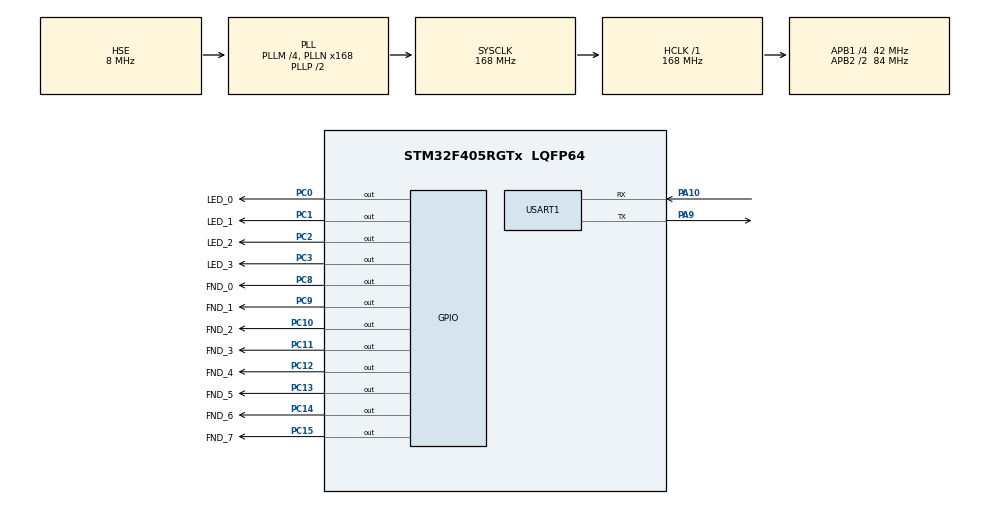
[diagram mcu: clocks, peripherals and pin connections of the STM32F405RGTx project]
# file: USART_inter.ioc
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Mcu.Family=STM32F4
Mcu.Name=STM32F405RGTx
Mcu.Package=LQFP64
NVIC.PriorityGroup=NVIC_PRIORITYGROUP_4
NVIC.USART1_IRQn=true\:0\:0\:false\:false\:true\:true\:true
PA10.Mode=Asynchronous
PA10.Signal=USART1_RX
PA13.Mode=Serial_Wire
PA13.Signal=SYS_JTMS-SWDIO
PA14.Mode=Serial_Wire
PA14.Signal=SYS_JTCK-SWCLK
PA9.Mode=Asynchronous
PA9.Signal=USART1_TX
PC0.GPIO_Label=LED_0
PC0.Signal=GPIO_Output
PC1.GPIO_Label=LED_1
PC1.Signal=GPIO_Output
PC10.GPIO_Label=FND_2
PC10.Signal=GPIO_Output
PC11.GPIO_Label=FND_3
PC11.Signal=GPIO_Output
PC12.GPIO_Label=FND_4
PC12.Signal=GPIO_Output
PC13-ANTI_TAMP.GPIO_Label=FND_5
PC13-ANTI_TAMP.Signal=GPIO_Output
PC14-OSC32_IN.GPIO_Label=FND_6
PC14-OSC32_IN.Signal=GPIO_Output
PC15-OSC32_OUT.GPIO_Label=FND_7
PC15-OSC32_OUT.Signal=GPIO_Output
PC2.GPIO_Label=LED_2
PC2.Signal=GPIO_Output
PC3.GPIO_Label=LED_3
PC3.Signal=GPIO_Output
PC8.GPIO_Label=FND_0
PC8.Signal=GPIO_Output
PC9.GPIO_Label=FND_1
PC9.Signal=GPIO_Output
PH0-OSC_IN.Mode=HSE-External-Oscillator
PH0-OSC_IN.Signal=RCC_OSC_IN
PH1-OSC_OUT.Mode=HSE-External-Oscillator
PH1-OSC_OUT.Signal=RCC_OSC_OUT
ProjectManager.HeapSize=0x200
ProjectManager.StackSize=0x400
ProjectManager.TargetToolchain=EWARM V8.32
RCC.48MHZClocksFreq_Value=84000000
RCC.AHBFreq_Value=168000000
RCC.APB1CLKDivider=RCC_HCLK_DIV4
RCC.APB1Freq_Value=42000000
RCC.APB1TimFreq_Value=84000000
RCC.APB2CLKDivider=RCC_HCLK_DIV2
RCC.APB2Freq_Value=84000000
RCC.APB2TimFreq_Value=168000000
RCC.CortexFreq_Value=168000000
RCC.HCLKFreq_Value=168000000
RCC.HSE_VALUE=8000000
RCC.HSI_VALUE=16000000
RCC.LSE_VALUE=32768
RCC.PLLM=4
RCC.PLLN=168
RCC.PLLSourceVirtual=RCC_PLLSOURCE_HSE
RCC.SYSCLKFreq_VALUE=168000000
RCC.SYSCLKSource=RCC_SYSCLKSOURCE_PLLCLK
RCC.VCOOutputFreq_Value=336000000
USART1.VirtualMode=VM_ASYNC
board=custom

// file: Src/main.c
/* USER CODE BEGIN Header */
/**
  ******************************************************************************
  * @file           : main.c
  * @brief          : Main program body
  ******************************************************************************
  * @attention
  *
  * <h2><center>&copy; Copyright (c) 2020 STMicroelectronics.
  * All rights reserved.</center></h2>
  *
  * This software component is licensed by ST under BSD 3-Clause license,
  * the "License"; You may not use this file except in compliance with the
  * License. You may obtain a copy of the License at:
  *                        opensource.org/licenses/BSD-3-Clause
  *
  ******************************************************************************
  */
/* USER CODE END Header */

#include "main.h"
#include "usart.h"
#include "gpio.h"

/* USER CODE BEGIN Includes */
#include <stdbool.h>
/* USER CODE END Includes */

void SystemClock_Config(void);
/* USER CODE BEGIN PFP */
void HAL_UART_RxCpltCallback(UART_HandleTypeDef *huart);
void UsartStateSelector(const uint8_t rxData);
/* USER CODE END PFP */

/* USER CODE BEGIN 0 */
uint8_t rxData;
volatile bool fndEnable = true;
volatile bool ledEnable = true;
const uint16_t ledPins = LED_0_Pin | LED_1_Pin | LED_2_Pin | LED_3_Pin;
const uint16_t fndChars[] = {0x3F00, 0x0600, 0x5B00, 0x4F00, 0x6600, 0x6D00,
                             0x7C00, 0x0700, 0x7F00, 0x6700, 0x7700, 0x7C00,
                             0x3900, 0x5E00, 0x7900, 0x7100, 0x0800, 0x8000};
const uint16_t fndPins = FND_0_Pin | FND_1_Pin | FND_2_Pin | FND_3_Pin |
                         FND_4_Pin | FND_5_Pin | FND_6_Pin | FND_7_Pin;
/* USER CODE END 0 */

int main(void)
{

  /* MCU Configuration--------------------------------------------------------*/

  /* Reset of all peripherals, Initializes the Flash interface and the Systick. */
  HAL_Init();

  /* Configure the system clock */
  SystemClock_Config();

  /* Initialize all configured peripherals */
  MX_GPIO_Init();
  MX_USART1_UART_Init();
  /* USER CODE BEGIN 2 */
    if(HAL_UART_Receive_IT(&huart1, &rxData, sizeof(uint8_t)) == HAL_OK)
    {
        UsartStateSelector(rxData);
    }
  /* USER CODE END 2 */

  /* Infinite loop */
  /* USER CODE BEGIN WHILE */
  int fndIndex = 0;
  int ledIndex = LED_0_Pin;
  while (1)
  {
      if(ledEnable == true)
      {
          HAL_GPIO_WritePin(LED_0_GPIO_Port, ledPins & ledIndex, GPIO_PIN_SET);
          HAL_GPIO_WritePin(LED_0_GPIO_Port, ledPins & ~ledIndex, GPIO_PIN_RESET);
          ledIndex <<= 1;
          if(ledIndex > LED_3_Pin)
          {
              ledIndex = LED_0_Pin;
          }
      }

      if(fndEnable == true)
      {
          HAL_GPIO_WritePin(FND_0_GPIO_Port, fndPins & fndChars[fndIndex], GPIO_PIN_SET);
          HAL_GPIO_WritePin(FND_0_GPIO_Port, fndPins & ~fndChars[fndIndex], GPIO_PIN_RESET);
          fndIndex++;
          if(fndIndex > 15)
          {
              fndIndex = 0;
          }
      }

      HAL_Delay(100);
    /* USER CODE END WHILE */

  }
}

void SystemClock_Config(void)
{
  RCC_OscInitTypeDef RCC_OscInitStruct = {0};
  RCC_ClkInitTypeDef RCC_ClkInitStruct = {0};

  /** Configure the main internal regulator output voltage
  */
  __HAL_RCC_PWR_CLK_ENABLE();
  __HAL_PWR_VOLTAGESCALING_CONFIG(PWR_REGULATOR_VOLTAGE_SCALE1);
  /** Initializes the CPU, AHB and APB busses clocks
  */
  RCC_OscInitStruct.OscillatorType = RCC_OSCILLATORTYPE_HSE;
  RCC_OscInitStruct.HSEState = RCC_HSE_ON;
  RCC_OscInitStruct.PLL.PLLState = RCC_PLL_ON;
  RCC_OscInitStruct.PLL.PLLSource = RCC_PLLSOURCE_HSE;
  RCC_OscInitStruct.PLL.PLLM = 4;
  RCC_OscInitStruct.PLL.PLLN = 168;
  RCC_OscInitStruct.PLL.PLLP = RCC_PLLP_DIV2;
  RCC_OscInitStruct.PLL.PLLQ = 4;
  if (HAL_RCC_OscConfig(&RCC_OscInitStruct) != HAL_OK)
  {
    Error_Handler();
  }
  /** Initializes the CPU, AHB and APB busses clocks
  */
  RCC_ClkInitStruct.ClockType = RCC_CLOCKTYPE_HCLK|RCC_CLOCKTYPE_SYSCLK
                              |RCC_CLOCKTYPE_PCLK1|RCC_CLOCKTYPE_PCLK2;
  RCC_ClkInitStruct.SYSCLKSource = RCC_SYSCLKSOURCE_PLLCLK;
  RCC_ClkInitStruct.AHBCLKDivider = RCC_SYSCLK_DIV1;
  RCC_ClkInitStruct.APB1CLKDivider = RCC_HCLK_DIV4;
  RCC_ClkInitStruct.APB2CLKDivider = RCC_HCLK_DIV2;

  if (HAL_RCC_ClockConfig(&RCC_ClkInitStruct, FLASH_LATENCY_5) != HAL_OK)
  {
    Error_Handler();
  }
}

/* USER CODE BEGIN 4 */
void HAL_UART_RxCpltCallback(UART_HandleTypeDef *huart)
{
    if(huart->Instance == USART1)
    {
        if(HAL_UART_Receive_IT(&huart1, &rxData, sizeof(uint8_t)) == HAL_OK)
        {
            UsartStateSelector(rxData);
        }
    }
}

void UsartStateSelector(const uint8_t rxData)
{
    switch(rxData)
    {
    case '1':
        ledEnable = !ledEnable;
        return;
    case '2':
        fndEnable = !fndEnable;
        return;
    }
}
/* USER CODE END 4 */

void Error_Handler(void)
{
}

/************************ (C) COPYRIGHT STMicroelectronics *****END OF FILE****/
